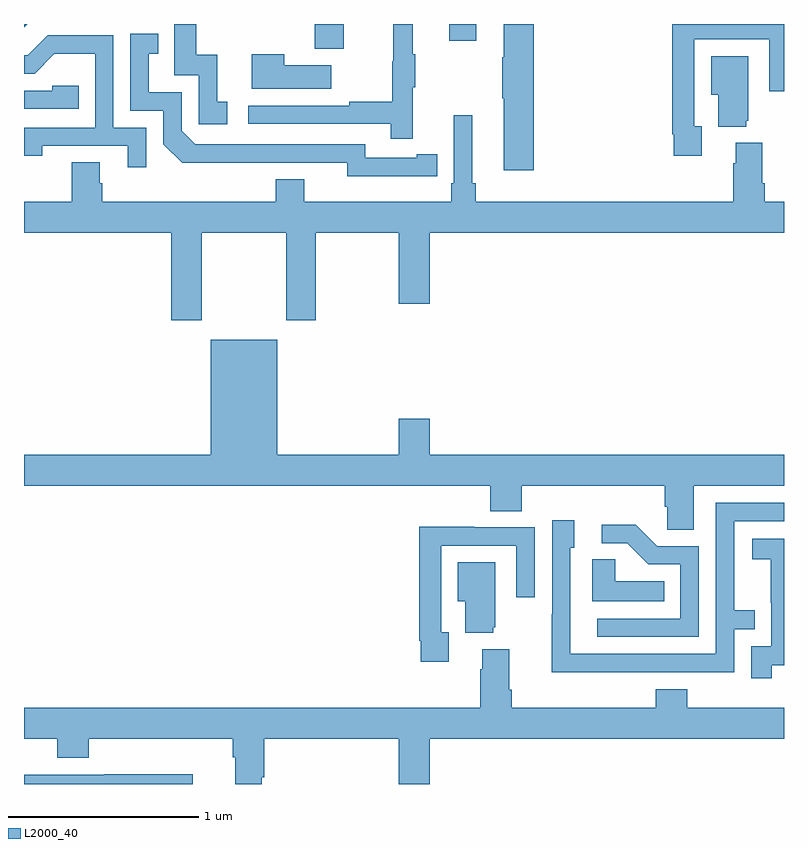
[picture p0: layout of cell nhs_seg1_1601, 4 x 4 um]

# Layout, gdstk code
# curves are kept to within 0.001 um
import gdstk
lib = gdstk.Library(unit=1e-6, precision=1e-09)
def R(c, l, rs):  # rectangles x0, y0, x1, y1
    for r in rs: c.add(gdstk.rectangle(r[:2], r[2:], *l))
def P(c, l, *ps):  # polygons
    for p in ps: c.add(gdstk.Polygon(p, *l))
L2000_40 = (2000, 40)

nhs_seg1_1601 = lib.new_cell('nhs_seg1_1601')
R(nhs_seg1_1601, L2000_40, [(200.531,518.07,200.683,518.199), (201.239,518.112,201.379,518.199)])
P(nhs_seg1_1601, L2000_40, [(200.071,517.791),(200.018,517.791),(200.018,518.038),(199.907,518.038),(199.907,518.199),(199.791,518.199),(199.791,517.929),(199.92,517.929),(199.92,517.671),(200.071,517.671)],
  [(199.017,518.199),(199,518.199),(199,518.182)],
  [(201.047,517.867),(201.058,517.867),(201.058,518.041),(201.047,518.041),(201.047,518.199),(200.944,518.199),(200.944,518.004),(200.937,518.004),(200.937,517.79),(200.713,517.79),(200.713,517.77),(200.181,517.77),(200.181,517.674),(200.929,517.674),(200.929,517.596),(201.047,517.596)],
  [(202.567,517.662),(202.527,517.662),(202.527,518.118),(202.923,518.118),(202.923,517.845),(203,517.845),(203,518.199),(202.411,518.199),(202.411,517.618),(202.419,517.618),(202.419,517.506),(202.567,517.506)],
  [(201.683,518.199),(201.524,518.199),(201.524,518.024),(201.517,518.024),(201.517,517.807),(201.524,517.807),(201.524,517.428),(201.683,517.428)],
  [(201.068,517.398),(201.176,517.398),(201.176,517.514),(201.068,517.514),(201.068,517.494),(200.796,517.494),(200.796,517.566),(199.902,517.566),(199.83,517.638),(199.83,517.839),(199.657,517.839),(199.657,518.043),(199.706,518.043),(199.706,518.149),(199.56,518.149),(199.56,517.743),(199.734,517.743),(199.734,517.566),(199.832,517.469),(200.7,517.47),(200.7,517.397)],
  [(199.644,517.653),(199.47,517.653),(199.47,518.139),(199.124,518.139),(199.019,518.034),(199,518.034),(199,517.938),(199.056,517.938),(199.16,518.042),(199.374,518.042),(199.374,517.653),(199,517.653),(199,517.506),(199.096,517.506),(199.096,517.557),(199.547,517.557),(199.547,517.446),(199.644,517.446)],
  [(200.617,517.981),(200.369,517.981),(200.369,518.041),(200.198,518.041),(200.198,517.859),(200.617,517.859)],
  [(202.802,517.689),(202.813,517.689),(202.813,518.029),(202.616,518.029),(202.616,517.826),(202.655,517.826),(202.655,517.658),(202.802,517.658)],
  [(199.289,517.875),(199.149,517.875),(199.149,517.848),(199,517.848),(199,517.752),(199.289,517.752)],
  [(199.935,517.1),(200.38,517.1),(200.38,516.639),(200.535,516.639),(200.535,517.1),(200.972,517.1),(200.972,516.726),(201.136,516.726),(201.136,517.1),(203,517.1),(203,517.264),(202.898,517.264),(202.898,517.36),(202.885,517.36),(202.885,517.573),(202.745,517.573),(202.745,517.466),(202.733,517.466),(202.733,517.264),(201.377,517.264),(201.377,517.36),(201.358,517.36),(201.358,517.72),(201.261,517.72),(201.261,517.36),(201.248,517.36),(201.248,517.264),(200.476,517.264),(200.476,517.381),(200.324,517.381),(200.324,517.264),(199.412,517.264),(199.412,517.362),(199.399,517.362),(199.399,517.472),(199.252,517.472),(199.252,517.264),(199,517.264),(199,517.1),(199.775,517.1),(199.775,516.639),(199.935,516.639)],
  [(202.525,515.768),(203,515.768),(203,515.932),(201.136,515.932),(201.136,516.121),(200.972,516.121),(200.972,515.932),(200.332,515.932),(200.332,516.538),(199.982,516.538),(199.982,515.932),(199,515.932),(199,515.768),(201.455,515.768),(201.455,515.635),(201.62,515.635),(201.62,515.768),(202.373,515.768),(202.373,515.659),(202.386,515.659),(202.386,515.536),(202.525,515.536)],
  [(202.241,514.788),(202.737,514.788),(202.737,515.013),(202.847,515.013),(202.847,515.114),(202.737,515.114),(202.737,515.583),(203,515.583),(203,515.679),(202.641,515.679),(202.641,514.884),(201.876,514.884),(201.876,515.442),(201.895,515.442),(201.895,515.587),(201.78,515.587),(201.78,515.093),(201.778,515.093),(201.778,514.787),(202.241,514.787)],
  [(202.551,515.451),(202.332,515.451),(202.219,515.564),(202.041,515.564),(202.041,515.466),(202.175,515.466),(202.286,515.355),(202.455,515.355),(202.455,515.07),(202.017,515.07),(202.017,514.974),(202.551,514.974)],
  [(201.235,514.998),(201.195,514.998),(201.195,515.454),(201.591,515.454),(201.591,515.181),(201.687,515.181),(201.687,515.55),(201.371,515.55),(201.371,515.552),(201.079,515.552),(201.079,514.954),(201.087,514.954),(201.087,514.842),(201.235,514.842)],
  [(202.936,514.825),(203,514.825),(203,515.491),(202.833,515.491),(202.833,515.381),(202.931,515.381),(202.931,515.153),(202.932,515.153),(202.932,514.923),(202.827,514.923),(202.827,514.755),(202.936,514.755)],
  [(202.37,515.266),(202.113,515.266),(202.113,515.381),(201.992,515.381),(201.992,515.162),(202.37,515.162)],
  [(201.47,515.025),(201.481,515.025),(201.481,515.365),(201.284,515.365),(201.284,515.162),(201.323,515.162),(201.323,514.994),(201.47,514.994)],
  [(200.251,514.234),(200.264,514.234),(200.264,514.436),(200.972,514.436),(200.972,514.199),(201.136,514.199),(201.136,514.436),(203,514.436),(203,514.6),(202.49,514.6),(202.49,514.699),(202.325,514.699),(202.325,514.6),(201.566,514.6),(201.566,514.696),(201.553,514.696),(201.553,514.909),(201.413,514.909),(201.413,514.802),(201.401,514.802),(201.401,514.6),(199,514.6),(199,514.436),(199.175,514.436),(199.175,514.337),(199.34,514.337),(199.34,514.436),(200.099,514.436),(200.099,514.34),(200.111,514.34),(200.111,514.199),(200.251,514.199)],
  [(199.887,514.25),(199.423,514.25),(199.423,514.248),(199,514.248),(199,514.199),(199.887,514.199)])

lib.write_gds('nhs_seg1_1601.gds')
